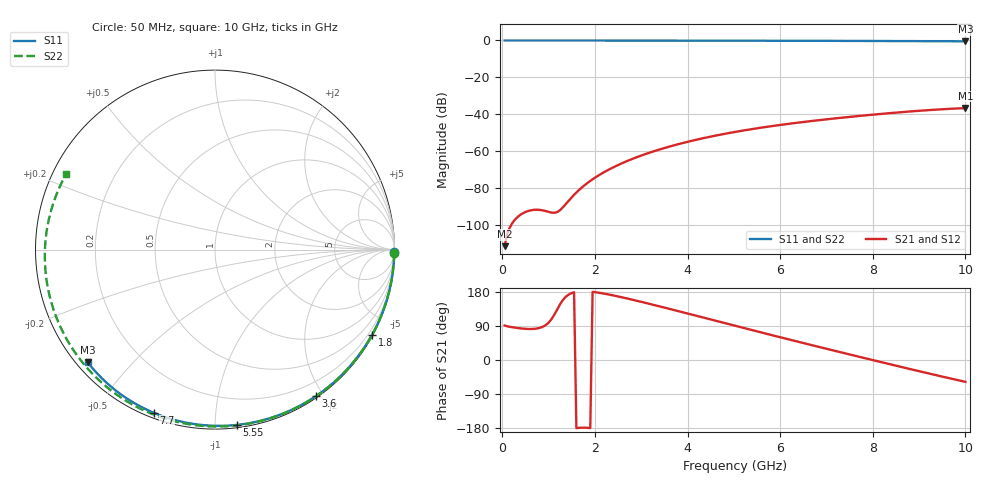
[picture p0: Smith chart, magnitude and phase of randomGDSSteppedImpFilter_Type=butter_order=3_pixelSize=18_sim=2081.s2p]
! freq	dB(S11)	phase(S11)	dB(S12)	phase(S12)
!  dB(S21)	phase(S21)	dB(S22)	phase(S22)
!S-par simulation data
#  GHz  S  DB  R 50
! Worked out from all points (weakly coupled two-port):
!   200 points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, 50 MHz to 10 GHz, reference 50 ohm
!   highest |S21| = -36.58 dB at 10 GHz (marker M1); lowest = -111.3 dB at 50 MHz (marker M2)
!   lowest |S11| = -0.5 dB at 10 GHz (marker M3), VSWR 36.93, Z = 1.55 - j18.9 ohm
!   |S11| at or under -10 dB: nowhere
!   |S22| runs from -0.6 to 0.0 dB; largest |S21 - S12| = 0
!   S11 on the Smith chart (normalised r, x): 50 MHz: open; 1.8 GHz: 0.03, -3.94; 3.6 GHz: 0.02, -1.90; 5.55 GHz: 0.02, -1.13; 7.7 GHz: 0.02, -0.69; 10 GHz: 0.03, -0.38
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0.05  -0.00 -0.8  -111.26 91.1  -111.26 91.1  -0.01 -1.1
0.8  -0.02 -12.8  -91.62 84.5  -91.62 84.5  -0.02 -18.7
1.2  -0.02 -19.1  -92.62 136.7  -92.62 136.7  -0.04 -27.9
1.65  -0.03 -26.1  -81.03 -179.0  -81.03 -179.0  -0.05 -38.1
1.7  -0.03 -26.9  -79.91 -178.6  -79.91 -178.6  -0.05 -39.2
1.75  -0.04 -27.7  -78.84 -178.5  -78.84 -178.5  -0.05 -40.3
1.8  -0.04 -28.5  -77.83 -178.6  -77.83 -178.6  -0.05 -41.5
2.1  -0.04 -33.1  -72.67 177.2  -72.67 177.2  -0.06 -48.1
2.45  -0.05 -38.4  -67.96 169.0  -67.96 169.0  -0.07 -55.8
2.9  -0.06 -45.2  -63.17 156.5  -63.17 156.5  -0.08 -65.5
3.4  -0.07 -52.6  -58.93 141.4  -58.93 141.4  -0.10 -76.0
3.6  -0.07 -55.6  -57.46 135.3  -57.46 135.3  -0.11 -80.1
4.3  -0.09 -65.6  -53.07 113.3  -53.07 113.3  -0.13 -94.3
5.05  -0.12 -76.1  -49.37 89.7  -49.37 89.7  -0.17 -108.9
5.55  -0.14 -82.8  -47.32 74.0  -47.32 74.0  -0.19 -118.5
6.1  -0.16 -90.1  -45.36 57.0  -45.36 57.0  -0.23 -128.9
6.7  -0.19 -97.9  -43.50 38.7  -43.50 38.7  -0.27 -140.2
7.2  -0.22 -104.3  -42.12 23.6  -42.12 23.6  -0.31 -149.7
7.7  -0.25 -110.5  -40.85 8.7  -40.85 8.7  -0.36 -159.2
8.35  -0.30 -118.5  -39.34 -10.6  -39.34 -10.6  -0.42 -171.9
9.2  -0.38 -128.9  -37.68 -35.3  -37.68 -35.3  -0.52 170.7
10  -0.47 -138.5  -36.58 -57.6  -36.58 -57.6  -0.63 153.2
